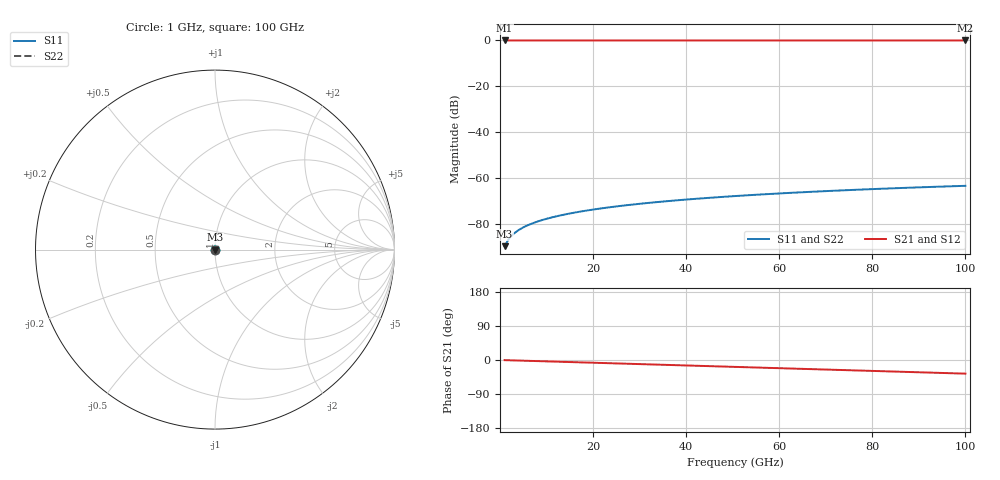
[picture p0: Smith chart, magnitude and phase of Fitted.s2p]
! File created by SignalIntegrity v1.4.3: Signal and Power Integrity Tools
! https://github.com/Nubis-Communications/SignalIntegrity
# MHz S MA R 50.0
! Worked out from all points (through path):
!   100 points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, 1 GHz to 100 GHz, reference 50 ohm
!   highest |S21| = 0.00 dB at 1 GHz (marker M1); lowest = 0.0 dB at 100 GHz (marker M2)
!   group delay of S21, straight-line fit = 1 ps
!   lowest |S11| = -89.6 dB at 1 GHz (marker M3), VSWR 1.00, Z = 50 + j0.00291 ohm
!   |S11| at or under -10 dB: start of sweep to end of sweep
!   |S22| runs from -89.6 to -63.3 dB; largest |S21 - S12| = 0
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1000  3.324e-05 61.1  1 -0.4  1 -0.4  3.324e-05 61.1
6000  9.512e-05 66.5  0.9999 -2.2  0.9999 -2.2  9.512e-05 66.5
7000  0.0001046 67.3  0.9999 -2.5  0.9999 -2.5  0.0001046 67.3
8000  0.0001137 68.0  0.9999 -2.9  0.9999 -2.9  0.0001137 68.0
9000  0.0001225 68.7  0.9999 -3.2  0.9999 -3.2  0.0001225 68.7
10000  0.000131 69.2  0.9999 -3.6  0.9999 -3.6  0.000131 69.2
12000  0.0001475 70.2  0.9999 -4.3  0.9999 -4.3  0.0001475 70.2
15000  0.000171 71.3  0.9998 -5.4  0.9998 -5.4  0.000171 71.3
18000  0.0001936 72.1  0.9998 -6.5  0.9998 -6.5  0.0001936 72.1
21000  0.0002154 72.6  0.9998 -7.6  0.9998 -7.6  0.0002154 72.6
25000  0.0002437 73.1  0.9998 -9.0  0.9998 -9.0  0.0002437 73.1
29000  0.0002712 73.3  0.9998 -10.4  0.9998 -10.4  0.0002712 73.3
34000  0.0003046 73.3  0.9997 -12.2  0.9997 -12.2  0.0003046 73.3
38000  0.0003308 73.1  0.9997 -13.7  0.9997 -13.7  0.0003308 73.1
42000  0.0003565 72.8  0.9997 -15.1  0.9997 -15.1  0.0003565 72.8
51000  0.0004127 71.7  0.9996 -18.4  0.9996 -18.4  0.0004127 71.7
59000  0.000461 70.5  0.9996 -21.2  0.9996 -21.2  0.000461 70.5
67000  0.0005078 69.0  0.9996 -24.1  0.9996 -24.1  0.0005078 69.0
75000  0.0005531 67.3  0.9995 -27.0  0.9995 -27.0  0.0005531 67.3
84000  0.0006022 65.3  0.9995 -30.2  0.9995 -30.2  0.0006022 65.3
92000  0.0006442 63.4  0.9995 -33.1  0.9995 -33.1  0.0006442 63.4
100000  0.0006844 61.4  0.9994 -36.0  0.9994 -36.0  0.0006844 61.4
